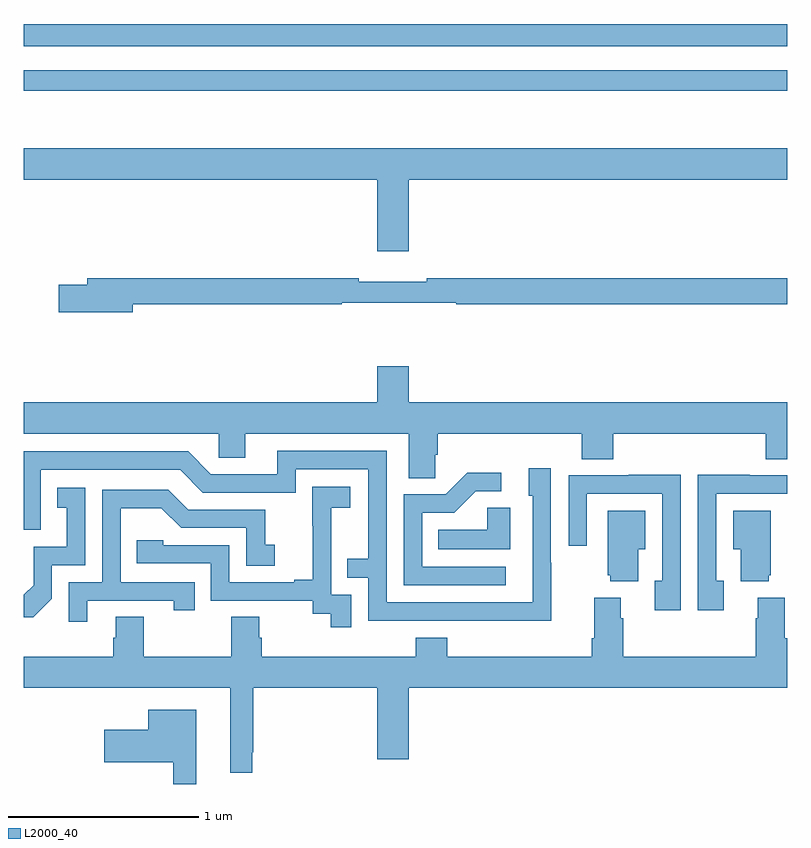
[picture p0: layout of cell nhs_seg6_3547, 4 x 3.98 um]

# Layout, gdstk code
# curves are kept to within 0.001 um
import gdstk
lib = gdstk.Library(unit=1e-6, precision=1e-09)
def R(c, l, rs):  # rectangles x0, y0, x1, y1
    for r in rs: c.add(gdstk.rectangle(r[:2], r[2:], *l))
def P(c, l, *ps):  # polygons
    for p in ps: c.add(gdstk.Polygon(p, *l))
L2000_40 = (2000, 40)

nhs_seg6_3547 = lib.new_cell('nhs_seg6_3547')
R(nhs_seg6_3547, L2000_40, [(319,949.134,323,949.242), (319,949.368,323,949.484)])
P(nhs_seg6_3547, L2000_40, [(321.016,948.668),(323,948.668),(323,948.832),(319,948.832),(319,948.668),(320.852,948.668),(320.852,948.294),(321.016,948.294)],
  [(319.57,948.016),(320.666,948.016),(320.666,948.024),(321.266,948.024),(321.266,948.016),(323,948.016),(323,948.152),(321.112,948.152),(321.112,948.133),(320.756,948.133),(320.756,948.152),(319.331,948.152),(319.331,948.116),(319.182,948.116),(319.182,947.974),(319.57,947.974)],
  [(321.156,947.227),(321.17,947.227),(321.17,947.336),(321.923,947.336),(321.923,947.203),(322.088,947.203),(322.088,947.336),(322.889,947.336),(322.889,947.203),(323,947.203),(323,947.5),(321.016,947.5),(321.016,947.689),(320.852,947.689),(320.852,947.5),(319,947.5),(319,947.336),(320.022,947.336),(320.022,947.209),(320.161,947.209),(320.161,947.336),(321.017,947.336),(321.017,947.104),(321.156,947.104)],
  [(321.765,946.661),(321.762,946.661),(321.762,947.155),(321.647,947.155),(321.647,947.01),(321.666,947.01),(321.666,946.452),(320.901,946.452),(320.901,947.247),(320.327,947.247),(320.327,947.124),(319.98,947.124),(319.86,947.244),(319,947.244),(319,946.833),(319.089,946.833),(319.089,947.148),(319.818,947.148),(319.938,947.028),(320.424,947.028),(320.424,947.151),(320.805,947.151),(320.805,946.682),(320.695,946.682),(320.695,946.581),(320.805,946.581),(320.805,946.356),(321.765,946.355)],
  [(321.526,946.638),(321.087,946.638),(321.087,946.923),(321.256,946.923),(321.367,947.034),(321.502,947.034),(321.502,947.132),(321.323,947.132),(321.21,947.019),(320.991,947.019),(320.991,946.542),(321.526,946.542)],
  [(322.669,946.566),(322.629,946.566),(322.629,947.022),(323,947.022),(323,947.118),(322.805,947.118),(322.805,947.12),(322.533,947.12),(322.533,946.41),(322.669,946.41)],
  [(322.443,947.12),(322.171,947.12),(322.171,947.118),(321.855,947.118),(321.855,946.749),(321.951,946.749),(321.951,947.022),(322.347,947.022),(322.347,946.566),(322.307,946.566),(322.307,946.41),(322.443,946.41)],
  [(320.715,946.491),(320.61,946.491),(320.61,946.721),(320.612,946.721),(320.612,946.949),(320.71,946.949),(320.71,947.059),(320.512,947.059),(320.512,946.853),(320.513,946.853),(320.513,946.57),(320.417,946.57),(320.417,946.557),(320.076,946.557),(320.076,946.752),(319.731,946.752),(319.731,946.779),(319.591,946.779),(319.591,946.656),(319.98,946.656),(319.98,946.461),(320.514,946.461),(320.514,946.393),(320.607,946.393),(320.607,946.323),(320.715,946.323)],
  [(319.146,946.47),(319.146,946.647),(319.32,946.647),(319.32,947.053),(319.174,947.053),(319.174,946.947),(319.223,946.947),(319.223,946.743),(319.05,946.743),(319.05,946.542),(319,946.492),(319,946.373),(319.048,946.373)],
  [(319.333,946.461),(319.784,946.461),(319.784,946.41),(319.895,946.41),(319.895,946.557),(319.506,946.557),(319.506,946.946),(319.72,946.946),(319.824,946.842),(320.166,946.842),(320.166,946.644),(320.314,946.644),(320.314,946.753),(320.265,946.753),(320.265,946.938),(319.861,946.938),(319.756,947.043),(319.41,947.043),(319.41,946.557),(319.236,946.557),(319.236,946.35),(319.333,946.35)],
  [(321.55,946.949),(321.429,946.949),(321.429,946.834),(321.172,946.834),(321.172,946.73),(321.55,946.73)],
  [(322.904,946.593),(322.915,946.593),(322.915,946.933),(322.718,946.933),(322.718,946.73),(322.757,946.73),(322.757,946.562),(322.904,946.562)],
  [(322.219,946.73),(322.258,946.73),(322.258,946.933),(322.061,946.933),(322.061,946.593),(322.073,946.593),(322.073,946.562),(322.219,946.562)],
  [(323,946.264),(322.987,946.264),(322.987,946.477),(322.847,946.477),(322.847,946.37),(322.835,946.37),(322.835,946.168),(322.142,946.168),(322.142,946.37),(322.129,946.37),(322.129,946.477),(321.989,946.477),(321.989,946.264),(321.977,946.264),(321.977,946.168),(321.218,946.168),(321.218,946.267),(321.053,946.267),(321.053,946.168),(320.246,946.168),(320.246,946.266),(320.233,946.266),(320.233,946.376),(320.086,946.376),(320.086,946.168),(319.629,946.168),(319.629,946.376),(319.481,946.376),(319.481,946.266),(319.469,946.266),(319.469,946.168),(319,946.168),(319,946.004),(320.081,946.004),(320.081,945.56),(320.196,945.56),(320.196,945.667),(320.203,945.667),(320.203,946.004),(320.852,946.004),(320.852,945.63),(321.016,945.63),(321.016,946.004),(323,946.004)],
  [(319.903,945.889),(319.652,945.889),(319.652,945.784),(319.422,945.784),(319.422,945.614),(319.782,945.614),(319.782,945.5),(319.903,945.5)])

lib.write_gds('nhs_seg6_3547.gds')
